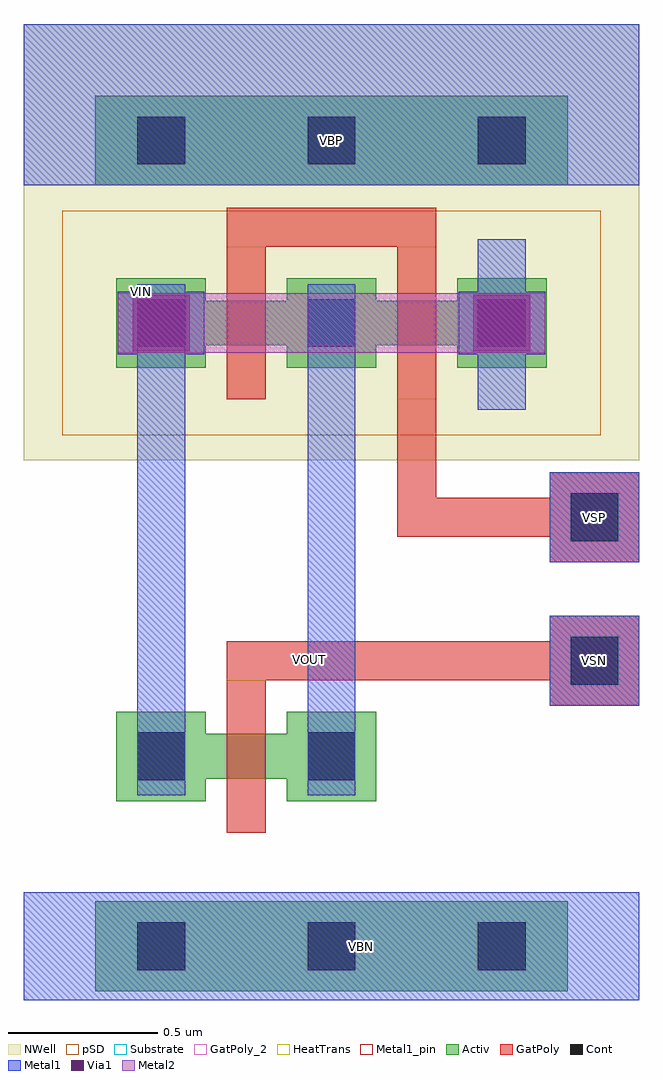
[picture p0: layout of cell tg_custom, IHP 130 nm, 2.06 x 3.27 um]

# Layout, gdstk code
import gdstk
lib = gdstk.Library(unit=1e-6, precision=5e-09)
def R(c, l, rs):  # rectangles x0, y0, x1, y1
    for r in rs: c.add(gdstk.rectangle(r[:2], r[2:], *l))
def A(c, l, x, y, w, h, nx, ny, dx, dy):  # array of equal rectangles
    R(c, l, [(x+i*dx, y+j*dy, x+i*dx+w, y+j*dy+h) for i in range(nx) for j in range(ny)])
Activ = (1, 0)
GatPoly = (5, 0)
GatPoly_2 = (5, 2)
Cont = (6, 0)
Metal1 = (8, 0)
Metal1_pin = (8, 2)
Metal2 = (10, 0)
pSD = (14, 0)
Via1 = (19, 0)
NWell = (31, 0)
Substrate = (40, 0)
HeatTrans = (51, 0)

nmos = lib.new_cell('nmos')
R(nmos, Activ, [(0,0,0.3,0.3), (0.57,0,0.87,0.3), (0,0.075,0.87,0.225)])
R(nmos, GatPoly, [(0.37,-0.105,0.5,0.405)])
R(nmos, GatPoly_2, [(0.37,-0.105,0.5,0.405)])
R(nmos, Cont, [(0.07,0.07,0.23,0.23), (0.64,0.07,0.8,0.23)])
R(nmos, Metal1, [(0.07,0.02,0.23,0.28), (0.64,0.02,0.8,0.28)])
R(nmos, Metal1_pin, [(0.07,0.02,0.23,0.28), (0.64,0.02,0.8,0.28)])
R(nmos, HeatTrans, [(0.37,-0.105,0.5,0.405)])
nmos.add(gdstk.Label('nmos', (0.435,0.15), layer=63, texttype=0))
nmos.add(gdstk.Label('nmos', (0.435,0.15), layer=51, texttype=0))

pmos = lib.new_cell('pmos')
A(pmos, Activ, 0, 0, 0.3, 0.3, 3, 1, 0.57, 0)
R(pmos, Activ, [(0,0.075,1.44,0.225)])
R(pmos, GatPoly, [(0.37,-0.105,0.5,0.405), (0.37,-0.105,0.5,0.405), (0.94,-0.105,1.07,0.405)])
A(pmos, Cont, 0.07, 0.07, 0.16, 0.16, 3, 1, 0.57, 0)
R(pmos, Metal1, [(0.07,0.02,0.23,0.28), (0.07,0.02,0.23,0.28), (0.64,0.02,0.8,0.28), (0.64,0.02,0.8,0.28), (1.21,0.02,1.37,0.28)])
R(pmos, pSD, [(-0.18,-0.225,1.62,0.525)])
R(pmos, NWell, [(-0.31,-0.31,1.75,0.61)])
R(pmos, Substrate, [(1.14,0,1.44,0.3)])
R(pmos, HeatTrans, [(0.37,-0.105,0.5,0.405), (0.94,-0.105,1.07,0.405)])
pmos.add(gdstk.Label('pmos', (0.435,0.15), layer=63, texttype=0))
pmos.add(gdstk.Label('pmos', (0.435,0.15), layer=51, texttype=0))
pmos.add(gdstk.Label('pmos', (1.005,0.15), layer=51, texttype=0))

nmos_1_2 = lib.new_cell('nmos$1$2')
R(nmos_1_2, Activ, [(0,0,0.3,0.3), (0.57,0,0.87,0.3), (0,0.075,0.87,0.225)])
R(nmos_1_2, GatPoly, [(0.37,-0.105,0.5,0.405)])
R(nmos_1_2, GatPoly_2, [(0.37,-0.105,0.5,0.405)])
R(nmos_1_2, Cont, [(0.07,0.07,0.23,0.23), (0.64,0.07,0.8,0.23)])
R(nmos_1_2, Metal1, [(0.07,0.02,0.23,0.28), (0.64,0.02,0.8,0.28)])
R(nmos_1_2, Metal1_pin, [(0.07,0.02,0.23,0.28), (0.64,0.02,0.8,0.28)])
R(nmos_1_2, HeatTrans, [(0.37,-0.105,0.5,0.405)])
nmos_1_2.add(gdstk.Label('nmos', (0.435,0.15), layer=63, texttype=0))
nmos_1_2.add(gdstk.Label('nmos', (0.435,0.15), layer=51, texttype=0))

pmos_1_2 = lib.new_cell('pmos$1$2')
A(pmos_1_2, Activ, 0, 0, 0.3, 0.3, 3, 1, 0.57, 0)
R(pmos_1_2, Activ, [(0,0.075,1.44,0.225)])
R(pmos_1_2, GatPoly, [(0.37,-0.105,0.5,0.405), (0.37,-0.105,0.5,0.405), (0.94,-0.105,1.07,0.405)])
A(pmos_1_2, Cont, 0.07, 0.07, 0.16, 0.16, 3, 1, 0.57, 0)
R(pmos_1_2, Metal1, [(0.07,0.02,0.23,0.28), (0.07,0.02,0.23,0.28), (0.64,0.02,0.8,0.28), (0.64,0.02,0.8,0.28), (1.21,0.02,1.37,0.28)])
R(pmos_1_2, pSD, [(-0.18,-0.225,1.62,0.525)])
R(pmos_1_2, NWell, [(-0.31,-0.31,1.75,0.61)])
R(pmos_1_2, Substrate, [(1.14,0,1.44,0.3)])
R(pmos_1_2, HeatTrans, [(0.37,-0.105,0.5,0.405), (0.94,-0.105,1.07,0.405)])
pmos_1_2.add(gdstk.Label('pmos', (0.435,0.15), layer=63, texttype=0))
pmos_1_2.add(gdstk.Label('pmos', (0.435,0.15), layer=51, texttype=0))
pmos_1_2.add(gdstk.Label('pmos', (1.005,0.15), layer=51, texttype=0))

nmos_2 = lib.new_cell('nmos$2')
R(nmos_2, Activ, [(0,0,0.3,0.3), (0.57,0,0.87,0.3), (0,0.075,0.87,0.225)])
R(nmos_2, GatPoly, [(0.37,-0.105,0.5,0.405)])
R(nmos_2, GatPoly_2, [(0.37,-0.105,0.5,0.405)])
R(nmos_2, Cont, [(0.07,0.07,0.23,0.23), (0.64,0.07,0.8,0.23)])
R(nmos_2, Metal1, [(0.07,0.02,0.23,0.28), (0.64,0.02,0.8,0.28)])
R(nmos_2, Metal1_pin, [(0.07,0.02,0.23,0.28), (0.64,0.02,0.8,0.28)])
R(nmos_2, HeatTrans, [(0.37,-0.105,0.5,0.405)])
nmos_2.add(gdstk.Label('nmos', (0.435,0.15), layer=63, texttype=0))
nmos_2.add(gdstk.Label('nmos', (0.435,0.15), layer=51, texttype=0))

pmos_2 = lib.new_cell('pmos$2')
A(pmos_2, Activ, 0, 0, 0.3, 0.3, 3, 1, 0.57, 0)
R(pmos_2, Activ, [(0,0.075,1.44,0.225)])
R(pmos_2, GatPoly, [(0.37,-0.105,0.5,0.405), (0.37,-0.105,0.5,0.405), (0.94,-0.105,1.07,0.405)])
A(pmos_2, Cont, 0.07, 0.07, 0.16, 0.16, 3, 1, 0.57, 0)
R(pmos_2, Metal1, [(0.07,0.02,0.23,0.28), (0.07,0.02,0.23,0.28), (0.64,0.02,0.8,0.28), (0.64,0.02,0.8,0.28), (1.21,0.02,1.37,0.28)])
R(pmos_2, pSD, [(-0.18,-0.225,1.62,0.525)])
R(pmos_2, NWell, [(-0.31,-0.31,1.75,0.61)])
R(pmos_2, Substrate, [(1.14,0,1.44,0.3)])
R(pmos_2, HeatTrans, [(0.37,-0.105,0.5,0.405), (0.94,-0.105,1.07,0.405)])
pmos_2.add(gdstk.Label('pmos', (0.435,0.15), layer=63, texttype=0))
pmos_2.add(gdstk.Label('pmos', (0.435,0.15), layer=51, texttype=0))
pmos_2.add(gdstk.Label('pmos', (1.005,0.15), layer=51, texttype=0))

nmos_1_3 = lib.new_cell('nmos$1$3')
R(nmos_1_3, Activ, [(0,0,0.3,0.3), (0.57,0,0.87,0.3), (0,0.075,0.87,0.225)])
R(nmos_1_3, GatPoly, [(0.37,-0.105,0.5,0.405)])
R(nmos_1_3, GatPoly_2, [(0.37,-0.105,0.5,0.405)])
R(nmos_1_3, Cont, [(0.07,0.07,0.23,0.23), (0.64,0.07,0.8,0.23)])
R(nmos_1_3, Metal1, [(0.07,0.02,0.23,0.28), (0.64,0.02,0.8,0.28)])
R(nmos_1_3, Metal1_pin, [(0.07,0.02,0.23,0.28), (0.64,0.02,0.8,0.28)])
R(nmos_1_3, HeatTrans, [(0.37,-0.105,0.5,0.405)])
nmos_1_3.add(gdstk.Label('nmos', (0.435,0.15), layer=63, texttype=0))
nmos_1_3.add(gdstk.Label('nmos', (0.435,0.15), layer=51, texttype=0))

pmos_1_3 = lib.new_cell('pmos$1$3')
A(pmos_1_3, Activ, 0, 0, 0.3, 0.3, 3, 1, 0.57, 0)
R(pmos_1_3, Activ, [(0,0.075,1.44,0.225)])
R(pmos_1_3, GatPoly, [(0.37,-0.105,0.5,0.405), (0.37,-0.105,0.5,0.405), (0.94,-0.105,1.07,0.405)])
A(pmos_1_3, Cont, 0.07, 0.07, 0.16, 0.16, 3, 1, 0.57, 0)
R(pmos_1_3, Metal1, [(0.07,0.02,0.23,0.28), (0.07,0.02,0.23,0.28), (0.64,0.02,0.8,0.28), (0.64,0.02,0.8,0.28), (1.21,0.02,1.37,0.28)])
R(pmos_1_3, pSD, [(-0.18,-0.225,1.62,0.525)])
R(pmos_1_3, NWell, [(-0.31,-0.31,1.75,0.61)])
R(pmos_1_3, Substrate, [(1.14,0,1.44,0.3)])
R(pmos_1_3, HeatTrans, [(0.37,-0.105,0.5,0.405), (0.94,-0.105,1.07,0.405)])
pmos_1_3.add(gdstk.Label('pmos', (0.435,0.15), layer=63, texttype=0))
pmos_1_3.add(gdstk.Label('pmos', (0.435,0.15), layer=51, texttype=0))
pmos_1_3.add(gdstk.Label('pmos', (1.005,0.15), layer=51, texttype=0))

nmos_5 = lib.new_cell('nmos$5')
R(nmos_5, Activ, [(0,0,0.3,0.3), (0.57,0,0.87,0.3), (0,0.075,0.87,0.225)])
R(nmos_5, GatPoly, [(0.37,-0.105,0.5,0.405)])
R(nmos_5, GatPoly_2, [(0.37,-0.105,0.5,0.405)])
R(nmos_5, Cont, [(0.07,0.07,0.23,0.23), (0.64,0.07,0.8,0.23)])
R(nmos_5, Metal1, [(0.07,0.02,0.23,0.28), (0.64,0.02,0.8,0.28)])
R(nmos_5, Metal1_pin, [(0.07,0.02,0.23,0.28), (0.64,0.02,0.8,0.28)])
R(nmos_5, HeatTrans, [(0.37,-0.105,0.5,0.405)])
nmos_5.add(gdstk.Label('nmos', (0.435,0.15), layer=63, texttype=0))
nmos_5.add(gdstk.Label('nmos', (0.435,0.15), layer=51, texttype=0))

pmos_5 = lib.new_cell('pmos$5')
A(pmos_5, Activ, 0, 0, 0.3, 0.3, 3, 1, 0.57, 0)
R(pmos_5, Activ, [(0,0.075,1.44,0.225)])
R(pmos_5, GatPoly, [(0.37,-0.105,0.5,0.405), (0.37,-0.105,0.5,0.405), (0.94,-0.105,1.07,0.405)])
A(pmos_5, Cont, 0.07, 0.07, 0.16, 0.16, 3, 1, 0.57, 0)
R(pmos_5, Metal1, [(0.07,0.02,0.23,0.28), (0.07,0.02,0.23,0.28), (0.64,0.02,0.8,0.28), (0.64,0.02,0.8,0.28), (1.21,0.02,1.37,0.28)])
R(pmos_5, pSD, [(-0.18,-0.225,1.62,0.525)])
R(pmos_5, NWell, [(-0.31,-0.31,1.75,0.61)])
R(pmos_5, Substrate, [(1.14,0,1.44,0.3)])
R(pmos_5, HeatTrans, [(0.37,-0.105,0.5,0.405), (0.94,-0.105,1.07,0.405)])
pmos_5.add(gdstk.Label('pmos', (0.435,0.15), layer=63, texttype=0))
pmos_5.add(gdstk.Label('pmos', (0.435,0.15), layer=51, texttype=0))
pmos_5.add(gdstk.Label('pmos', (1.005,0.15), layer=51, texttype=0))

nmos_1_7 = lib.new_cell('nmos$1$7')
R(nmos_1_7, Activ, [(0,0,0.3,0.3), (0.57,0,0.87,0.3), (0,0.075,0.87,0.225)])
R(nmos_1_7, GatPoly, [(0.37,-0.105,0.5,0.405)])
R(nmos_1_7, GatPoly_2, [(0.37,-0.105,0.5,0.405)])
R(nmos_1_7, Cont, [(0.07,0.07,0.23,0.23), (0.64,0.07,0.8,0.23)])
R(nmos_1_7, Metal1, [(0.07,0.02,0.23,0.28), (0.64,0.02,0.8,0.28)])
R(nmos_1_7, Metal1_pin, [(0.07,0.02,0.23,0.28), (0.64,0.02,0.8,0.28)])
R(nmos_1_7, HeatTrans, [(0.37,-0.105,0.5,0.405)])
nmos_1_7.add(gdstk.Label('nmos', (0.435,0.15), layer=63, texttype=0))
nmos_1_7.add(gdstk.Label('nmos', (0.435,0.15), layer=51, texttype=0))

pmos_1_7 = lib.new_cell('pmos$1$7')
A(pmos_1_7, Activ, 0, 0, 0.3, 0.3, 3, 1, 0.57, 0)
R(pmos_1_7, Activ, [(0,0.075,1.44,0.225)])
R(pmos_1_7, GatPoly, [(0.37,-0.105,0.5,0.405), (0.37,-0.105,0.5,0.405), (0.94,-0.105,1.07,0.405)])
A(pmos_1_7, Cont, 0.07, 0.07, 0.16, 0.16, 3, 1, 0.57, 0)
R(pmos_1_7, Metal1, [(0.07,0.02,0.23,0.28), (0.07,0.02,0.23,0.28), (0.64,0.02,0.8,0.28), (0.64,0.02,0.8,0.28), (1.21,0.02,1.37,0.28)])
R(pmos_1_7, pSD, [(-0.18,-0.225,1.62,0.525)])
R(pmos_1_7, NWell, [(-0.31,-0.31,1.75,0.61)])
R(pmos_1_7, Substrate, [(1.14,0,1.44,0.3)])
R(pmos_1_7, HeatTrans, [(0.37,-0.105,0.5,0.405), (0.94,-0.105,1.07,0.405)])
pmos_1_7.add(gdstk.Label('pmos', (0.435,0.15), layer=63, texttype=0))
pmos_1_7.add(gdstk.Label('pmos', (0.435,0.15), layer=51, texttype=0))
pmos_1_7.add(gdstk.Label('pmos', (1.005,0.15), layer=51, texttype=0))

tg_custom = lib.new_cell('tg_custom')
R(tg_custom, Activ, [(0.445,0.87,2.025,1.17), (0.445,0.87,2.025,1.17), (0.445,0.87,2.025,1.17), (0.445,0.87,2.025,1.17), (0.445,0.87,2.025,1.17), (0.445,0.87,2.025,1.17), (0.445,3.565,2.025,3.865), (0.445,3.565,2.025,3.865), (0.445,3.565,2.025,3.865), (0.445,3.565,2.025,3.865), (0.445,3.565,2.025,3.865), (0.445,3.565,2.025,3.865)])
R(tg_custom, GatPoly, [(1.965,1.825,2.265,2.125), (1.965,1.825,2.265,2.125), (1.965,1.825,2.265,2.125), (1.965,1.825,2.265,2.125), (1.965,1.825,2.265,2.125), (1.965,1.825,2.265,2.125), (0.885,1.91,1.965,2.04), (0.885,1.91,1.965,2.04), (0.885,1.91,1.965,2.04), (0.885,1.91,1.965,2.04), (0.885,1.91,1.965,2.04), (0.885,1.91,1.965,2.04), (1.965,2.305,2.265,2.605), (1.965,2.305,2.265,2.605), (1.965,2.305,2.265,2.605), (1.965,2.305,2.265,2.605), (1.965,2.305,2.265,2.605), (1.965,2.305,2.265,2.605), (1.455,2.39,1.585,2.85), (1.455,2.39,1.585,2.85), (1.455,2.39,1.585,2.85), (1.455,2.39,1.585,2.85), (1.455,2.39,1.585,2.85), (1.455,2.39,1.585,2.85), (1.455,2.39,1.965,2.52), (1.455,2.39,1.965,2.52), (1.455,2.39,1.965,2.52), (1.455,2.39,1.965,2.52), (1.455,2.39,1.965,2.52), (1.455,2.39,1.965,2.52), (0.885,3.36,1.585,3.49), (0.885,3.36,1.585,3.49), (0.885,3.36,1.585,3.49), (0.885,3.36,1.585,3.49), (0.885,3.36,1.585,3.49), (0.885,3.36,1.585,3.49)])
R(tg_custom, Cont, [(0.585,0.94,0.745,1.1), (0.585,0.94,0.745,1.1), (0.585,0.94,0.745,1.1), (0.585,0.94,0.745,1.1), (0.585,0.94,0.745,1.1), (0.585,0.94,0.745,1.1), (1.155,0.94,1.315,1.1), (1.155,0.94,1.315,1.1), (1.155,0.94,1.315,1.1), (1.155,0.94,1.315,1.1), (1.155,0.94,1.315,1.1), (1.155,0.94,1.315,1.1), (1.725,0.94,1.885,1.1), (1.725,0.94,1.885,1.1), (1.725,0.94,1.885,1.1), (1.725,0.94,1.885,1.1), (1.725,0.94,1.885,1.1), (1.725,0.94,1.885,1.1), (2.035,1.895,2.195,2.055), (2.035,1.895,2.195,2.055), (2.035,1.895,2.195,2.055), (2.035,1.895,2.195,2.055), (2.035,1.895,2.195,2.055), (2.035,1.895,2.195,2.055), (2.035,2.375,2.195,2.535), (2.035,2.375,2.195,2.535), (2.035,2.375,2.195,2.535), (2.035,2.375,2.195,2.535), (2.035,2.375,2.195,2.535), (2.035,2.375,2.195,2.535), (0.585,3.635,0.745,3.795), (0.585,3.635,0.745,3.795), (0.585,3.635,0.745,3.795), (0.585,3.635,0.745,3.795), (0.585,3.635,0.745,3.795), (0.585,3.635,0.745,3.795), (1.155,3.635,1.315,3.795), (1.155,3.635,1.315,3.795), (1.155,3.635,1.315,3.795), (1.155,3.635,1.315,3.795), (1.155,3.635,1.315,3.795), (1.155,3.635,1.315,3.795), (1.725,3.635,1.885,3.795), (1.725,3.635,1.885,3.795), (1.725,3.635,1.885,3.795), (1.725,3.635,1.885,3.795), (1.725,3.635,1.885,3.795), (1.725,3.635,1.885,3.795)])
R(tg_custom, Metal1, [(0.205,0.84,2.265,1.2), (0.205,0.84,2.265,1.2), (0.205,0.84,2.265,1.2), (0.205,0.84,2.265,1.2), (0.205,0.84,2.265,1.2), (0.205,0.84,2.265,1.2), (0.585,1.525,0.745,3.235), (0.585,1.525,0.745,3.235), (0.585,1.525,0.745,3.235), (0.585,1.525,0.745,3.235), (0.585,1.525,0.745,3.235), (0.585,1.525,0.745,3.235), (1.155,1.525,1.315,3.235), (1.155,1.525,1.315,3.235), (1.155,1.525,1.315,3.235), (1.155,1.525,1.315,3.235), (1.155,1.525,1.315,3.235), (1.155,1.525,1.315,3.235), (1.965,1.825,2.265,2.125), (1.965,1.825,2.265,2.125), (1.965,1.825,2.265,2.125), (1.965,1.825,2.265,2.125), (1.965,1.825,2.265,2.125), (1.965,1.825,2.265,2.125), (1.965,2.305,2.265,2.605), (1.965,2.305,2.265,2.605), (1.965,2.305,2.265,2.605), (1.965,2.305,2.265,2.605), (1.965,2.305,2.265,2.605), (1.965,2.305,2.265,2.605), (1.725,2.815,1.885,3.385), (1.725,2.815,1.885,3.385), (1.725,2.815,1.885,3.385), (1.725,2.815,1.885,3.385), (1.725,2.815,1.885,3.385), (1.725,2.815,1.885,3.385), (0.52,3,0.81,3.21), (0.52,3,0.81,3.21), (0.52,3,0.81,3.21), (0.52,3,0.81,3.21), (0.52,3,0.81,3.21), (0.52,3,0.81,3.21), (1.66,3,1.95,3.21), (1.66,3,1.95,3.21), (1.66,3,1.95,3.21), (1.66,3,1.95,3.21), (1.66,3,1.95,3.21), (1.66,3,1.95,3.21), (0.205,3.565,2.265,4.105), (0.205,3.565,2.265,4.105), (0.205,3.565,2.265,4.105), (0.205,3.565,2.265,4.105), (0.205,3.565,2.265,4.105), (0.205,3.565,2.265,4.105)])
R(tg_custom, Metal1_pin, [(0.205,0.84,2.265,1.2), (0.205,0.84,2.265,1.2), (0.205,0.84,2.265,1.2), (0.205,0.84,2.265,1.2), (0.205,0.84,2.265,1.2), (0.205,0.84,2.265,1.2), (0.585,1.525,0.745,3.235), (0.585,1.525,0.745,3.235), (0.585,1.525,0.745,3.235), (0.585,1.525,0.745,3.235), (0.585,1.525,0.745,3.235), (0.585,1.525,0.745,3.235), (1.155,1.525,1.315,3.235), (1.155,1.525,1.315,3.235), (1.155,1.525,1.315,3.235), (1.155,1.525,1.315,3.235), (1.155,1.525,1.315,3.235), (1.155,1.525,1.315,3.235), (1.965,1.825,2.265,2.125), (1.965,1.825,2.265,2.125), (1.965,1.825,2.265,2.125), (1.965,1.825,2.265,2.125), (1.965,1.825,2.265,2.125), (1.965,1.825,2.265,2.125), (1.965,2.305,2.265,2.605), (1.965,2.305,2.265,2.605), (1.965,2.305,2.265,2.605), (1.965,2.305,2.265,2.605), (1.965,2.305,2.265,2.605), (1.965,2.305,2.265,2.605), (0.205,3.565,2.265,4.105), (0.205,3.565,2.265,4.105), (0.205,3.565,2.265,4.105), (0.205,3.565,2.265,4.105), (0.205,3.565,2.265,4.105), (0.205,3.565,2.265,4.105)])
R(tg_custom, Metal2, [(0.52,3.005,1.95,3.205), (0.52,3.005,1.95,3.205), (0.52,3.005,1.95,3.205), (0.52,3.005,1.95,3.205), (0.52,3.005,1.95,3.205), (0.52,3.005,1.95,3.205), (0.52,3.005,0.81,3.205), (0.52,3.005,0.81,3.205), (0.52,3.005,0.81,3.205), (0.52,3.005,0.81,3.205), (0.52,3.005,0.81,3.205), (0.52,3.005,0.81,3.205), (1.66,3.005,1.95,3.205), (1.66,3.005,1.95,3.205), (1.66,3.005,1.95,3.205), (1.66,3.005,1.95,3.205), (1.66,3.005,1.95,3.205), (1.66,3.005,1.95,3.205)])
R(tg_custom, pSD, [(0.205,0.84,2.265,1.2), (0.205,0.84,2.265,1.2), (0.205,0.84,2.265,1.2), (0.205,0.84,2.265,1.2), (0.205,0.84,2.265,1.2), (0.205,0.84,2.265,1.2)])
R(tg_custom, Via1, [(0.57,3.01,0.76,3.2), (0.57,3.01,0.76,3.2), (0.57,3.01,0.76,3.2), (0.57,3.01,0.76,3.2), (0.57,3.01,0.76,3.2), (0.57,3.01,0.76,3.2), (1.71,3.01,1.9,3.2), (1.71,3.01,1.9,3.2), (1.71,3.01,1.9,3.2), (1.71,3.01,1.9,3.2), (1.71,3.01,1.9,3.2), (1.71,3.01,1.9,3.2)])
R(tg_custom, NWell, [(0.205,3.565,2.265,4.105), (0.205,3.565,2.265,4.105), (0.205,3.565,2.265,4.105), (0.205,3.565,2.265,4.105), (0.205,3.565,2.265,4.105), (0.205,3.565,2.265,4.105)])
tg_custom.add(gdstk.Reference(nmos, (0.515,1.505)))
tg_custom.add(gdstk.Reference(pmos, (0.515,2.955)))
tg_custom.add(gdstk.Reference(nmos_1_2, (0.515,1.505)))
tg_custom.add(gdstk.Reference(pmos_1_2, (0.515,2.955)))
tg_custom.add(gdstk.Reference(nmos_2, (0.515,1.505)))
tg_custom.add(gdstk.Reference(pmos_2, (0.515,2.955)))
tg_custom.add(gdstk.Reference(nmos_1_3, (0.515,1.505)))
tg_custom.add(gdstk.Reference(pmos_1_3, (0.515,2.955)))
tg_custom.add(gdstk.Reference(nmos_5, (0.515,1.505)))
tg_custom.add(gdstk.Reference(pmos_5, (0.515,2.955)))
tg_custom.add(gdstk.Reference(nmos_1_7, (0.515,1.505)))
tg_custom.add(gdstk.Reference(pmos_1_7, (0.515,2.955)))
tg_custom.add(gdstk.Label('VBN', (1.335,1.02), layer=8, texttype=25))
tg_custom.add(gdstk.Label('VOUT', (1.16,1.98), layer=8, texttype=25))
tg_custom.add(gdstk.Label('VSP', (2.115,2.455), layer=8, texttype=25))
tg_custom.add(gdstk.Label('VIN', (0.6,3.21), layer=8, texttype=25))
tg_custom.add(gdstk.Label('VSN', (2.115,1.975), layer=8, texttype=25))
tg_custom.add(gdstk.Label('VBP', (1.235,3.715), layer=8, texttype=25))
tg_custom.add(gdstk.Label('VBN', (1.335,1.02), layer=8, texttype=25))
tg_custom.add(gdstk.Label('VOUT', (1.16,1.98), layer=8, texttype=25))
tg_custom.add(gdstk.Label('VSP', (2.115,2.455), layer=8, texttype=25))
tg_custom.add(gdstk.Label('VIN', (0.6,3.21), layer=8, texttype=25))
tg_custom.add(gdstk.Label('VSN', (2.115,1.975), layer=8, texttype=25))
tg_custom.add(gdstk.Label('VBP', (1.235,3.715), layer=8, texttype=25))
tg_custom.add(gdstk.Label('VBN', (1.335,1.02), layer=8, texttype=25))
tg_custom.add(gdstk.Label('VOUT', (1.16,1.98), layer=8, texttype=25))
tg_custom.add(gdstk.Label('VSP', (2.115,2.455), layer=8, texttype=25))
tg_custom.add(gdstk.Label('VIN', (0.6,3.21), layer=8, texttype=25))
tg_custom.add(gdstk.Label('VSN', (2.115,1.975), layer=8, texttype=25))
tg_custom.add(gdstk.Label('VBP', (1.235,3.715), layer=8, texttype=25))
tg_custom.add(gdstk.Label('VBN', (1.335,1.02), layer=8, texttype=25))
tg_custom.add(gdstk.Label('VOUT', (1.16,1.98), layer=8, texttype=25))
tg_custom.add(gdstk.Label('VSP', (2.115,2.455), layer=8, texttype=25))
tg_custom.add(gdstk.Label('VIN', (0.6,3.21), layer=8, texttype=25))
tg_custom.add(gdstk.Label('VSN', (2.115,1.975), layer=8, texttype=25))
tg_custom.add(gdstk.Label('VBP', (1.235,3.715), layer=8, texttype=25))
tg_custom.add(gdstk.Label('VBN', (1.335,1.02), layer=8, texttype=25))
tg_custom.add(gdstk.Label('VOUT', (1.16,1.98), layer=8, texttype=25))
tg_custom.add(gdstk.Label('VSP', (2.115,2.455), layer=8, texttype=25))
tg_custom.add(gdstk.Label('VIN', (0.6,3.21), layer=8, texttype=25))
tg_custom.add(gdstk.Label('VSN', (2.115,1.975), layer=8, texttype=25))
tg_custom.add(gdstk.Label('VBP', (1.235,3.715), layer=8, texttype=25))
tg_custom.add(gdstk.Label('VBN', (1.335,1.02), layer=8, texttype=25))
tg_custom.add(gdstk.Label('VOUT', (1.16,1.98), layer=8, texttype=25))
tg_custom.add(gdstk.Label('VSP', (2.115,2.455), layer=8, texttype=25))
tg_custom.add(gdstk.Label('VIN', (0.6,3.21), layer=8, texttype=25))
tg_custom.add(gdstk.Label('VSN', (2.115,1.975), layer=8, texttype=25))
tg_custom.add(gdstk.Label('VBP', (1.235,3.715), layer=8, texttype=25))

lib.write_gds('tg_custom.gds')
